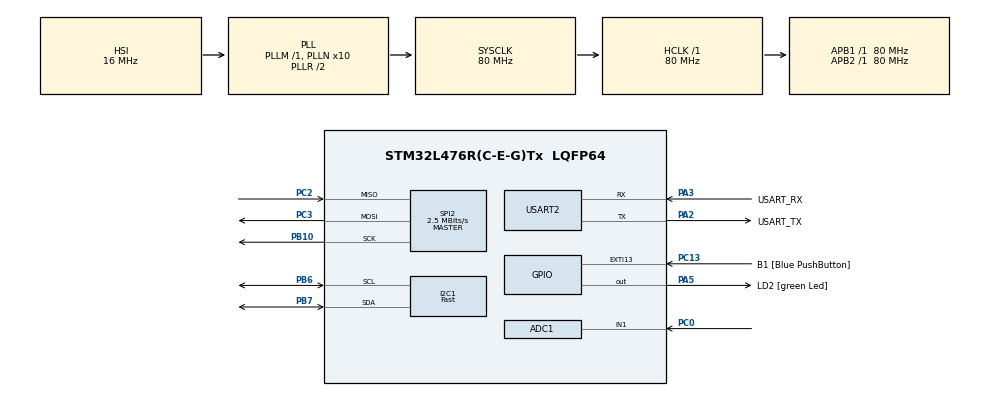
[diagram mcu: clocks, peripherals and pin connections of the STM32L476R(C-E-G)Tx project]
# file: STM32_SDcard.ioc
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ADC1.Channel-0\#ChannelRegularConversion=ADC_CHANNEL_1
ADC1.ContinuousConvMode=ENABLE
ADC1.EOCSelection=ADC_EOC_SEQ_CONV
ADC1.NbrOfConversionFlag=1
ADC1.OffsetNumber-0\#ChannelRegularConversion=ADC_OFFSET_NONE
ADC1.Overrun=ADC_OVR_DATA_OVERWRITTEN
ADC1.Rank-0\#ChannelRegularConversion=1
ADC1.SamplingTime-0\#ChannelRegularConversion=ADC_SAMPLETIME_2CYCLES_5
ADC1.master=1
I2C1.I2C_Speed_Mode=I2C_Fast
I2C1.Timing=0x00702991
Mcu.Family=STM32L4
Mcu.Name=STM32L476R(C-E-G)Tx
Mcu.Package=LQFP64
NVIC.PriorityGroup=NVIC_PRIORITYGROUP_4
PA13\ (JTMS-SWDIO).GPIO_Label=TMS
PA13\ (JTMS-SWDIO).Mode=Serial_Wire
PA13\ (JTMS-SWDIO).Signal=SYS_JTMS-SWDIO
PA14\ (JTCK-SWCLK).GPIO_Label=TCK
PA14\ (JTCK-SWCLK).Mode=Serial_Wire
PA14\ (JTCK-SWCLK).Signal=SYS_JTCK-SWCLK
PA2.GPIO_Label=USART_TX
PA2.GPIO_Mode=GPIO_MODE_AF_PP
PA2.GPIO_PuPd=GPIO_NOPULL
PA2.GPIO_Speed=GPIO_SPEED_FREQ_VERY_HIGH
PA2.Mode=Asynchronous
PA2.Signal=USART2_TX
PA3.GPIO_Label=USART_RX
PA3.GPIO_Mode=GPIO_MODE_AF_PP
PA3.GPIO_PuPd=GPIO_NOPULL
PA3.GPIO_Speed=GPIO_SPEED_FREQ_VERY_HIGH
PA3.Mode=Asynchronous
PA3.Signal=USART2_RX
PA5.GPIO_Label=LD2 [green Led]
PA5.GPIO_ModeDefaultOutputPP=GPIO_MODE_OUTPUT_PP
PA5.GPIO_PuPd=GPIO_NOPULL
PA5.GPIO_Speed=GPIO_SPEED_FREQ_LOW
PA5.Signal=GPIO_Output
PB10.Mode=Full_Duplex_Master
PB10.Signal=SPI2_SCK
PB3\ (JTDO-TRACESWO).GPIO_Label=SWO
PB3\ (JTDO-TRACESWO).Signal=SYS_JTDO-SWO
PB6.GPIO_Pu=GPIO_PULLUP
PB6.Mode=I2C
PB6.Signal=I2C1_SCL
PB7.GPIO_Pu=GPIO_PULLUP
PB7.Mode=I2C
PB7.Signal=I2C1_SDA
PC0.Signal=ADCx_IN1
PC13.GPIO_Label=B1 [Blue PushButton]
PC13.GPIO_ModeDefaultEXTI=GPIO_MODE_IT_FALLING
PC13.GPIO_PuPd=GPIO_NOPULL
PC13.Signal=GPXTI13
PC14-OSC32_IN\ (PC14).Mode=LSE-External-Oscillator
PC14-OSC32_IN\ (PC14).Signal=RCC_OSC32_IN
PC15-OSC32_OUT\ (PC15).Mode=LSE-External-Oscillator
PC15-OSC32_OUT\ (PC15).Signal=RCC_OSC32_OUT
PC2.Mode=Full_Duplex_Master
PC2.Signal=SPI2_MISO
PC3.Mode=Full_Duplex_Master
PC3.Signal=SPI2_MOSI
PH0-OSC_IN\ (PH0).Signal=RCC_OSC_IN
PH1-OSC_OUT\ (PH1).Signal=RCC_OSC_OUT
ProjectManager.HeapSize=0x200
ProjectManager.StackSize=0x400
ProjectManager.TargetToolchain=STM32CubeIDE
RCC.ADCFreq_Value=64000000
RCC.AHBFreq_Value=80000000
RCC.APB1Freq_Value=80000000
RCC.APB1TimFreq_Value=80000000
RCC.APB2Freq_Value=80000000
RCC.APB2TimFreq_Value=80000000
RCC.CortexFreq_Value=80000000
RCC.HCLKFreq_Value=80000000
RCC.HSE_VALUE=8000000
RCC.HSI_VALUE=16000000
RCC.MSI_VALUE=4000000
RCC.PLLN=10
RCC.PLLSourceVirtual=RCC_PLLSOURCE_HSI
RCC.PREFETCH_ENABLE=1
RCC.SYSCLKFreq_VALUE=80000000
RCC.SYSCLKSource=RCC_SYSCLKSOURCE_PLLCLK
RCC.USBFreq_Value=64000000
RCC.VCOOutputFreq_Value=160000000
SH.ADCx_IN1.0=ADC1_IN1,IN1-Single-Ended
SPI2.BaudRatePrescaler=SPI_BAUDRATEPRESCALER_32
SPI2.CalculateBaudRate=2.5 MBits/s
SPI2.DataSize=SPI_DATASIZE_8BIT
SPI2.Direction=SPI_DIRECTION_2LINES
SPI2.Mode=SPI_MODE_MASTER
SPI2.VirtualType=VM_MASTER
USART2.VirtualMode-Asynchronous=VM_ASYNC
VP_FATFS_VS_Generic.Mode=User_defined
board=NUCLEO-L476RG

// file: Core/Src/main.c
/* USER CODE BEGIN Header */
/**
  ******************************************************************************
  * @file           : main.c
  * @brief          : Main program body
  ******************************************************************************
  * @attention
  *
  * <h2><center>&copy; Copyright (c) 2020 STMicroelectronics.
  * All rights reserved.</center></h2>
  *
  * This software component is licensed by ST under BSD 3-Clause license,
  * the "License"; You may not use this file except in compliance with the
  * License. You may obtain a copy of the License at:
  *                        opensource.org/licenses/BSD-3-Clause
  *
  ******************************************************************************
  */
/* USER CODE END Header */
#include "main.h"
#include "fatfs.h"

/* USER CODE BEGIN Includes */
#include "ssd1306.h"
#include "fonts.h"
#include "test.h"
#include "bitmap.h"
#include "horse_anim.h"
#include "string.h"
#include "stdio.h"
#include "fatfs_sd.h"
/* USER CODE END Includes */

ADC_HandleTypeDef hadc1;

I2C_HandleTypeDef hi2c1;

SPI_HandleTypeDef hspi2;

UART_HandleTypeDef huart2;

void SystemClock_Config(void);
static void MX_GPIO_Init(void);
static void MX_USART2_UART_Init(void);
static void MX_ADC1_Init(void);
static void MX_I2C1_Init(void);
static void MX_SPI2_Init(void);

/* USER CODE BEGIN 0 */
uint16_t value_adc = 4096; // adc_value
float volts = 0;
char msg[5];
FATFS fs;  // file system
FIL fil; // File
FILINFO fno;
FRESULT fresult;  // result
UINT br, bw;  // File read/write count

/**** capacity related *****/
FATFS *pfs;
DWORD fre_clust;
uint32_t total, free_space;

#define BUFFER_SIZE 128
char buffer[BUFFER_SIZE];  // to store strings..

int i=0;

int bufsize (char *buf)
{
	int i=0;
	while (*buf++ != '\0') i++;
	return i;
}

void clear_buffer (void)
{
	for (int i=0; i<BUFFER_SIZE; i++) buffer[i] = '\0';
}

void send_uart (char *string)
{
	uint8_t len = strlen (string);
	HAL_UART_Transmit(&huart2, (uint8_t *) string, len, HAL_MAX_DELAY);  // transmit in blocking mode
}

/* USER CODE END 0 */

int main(void)
{

  /* MCU Configuration--------------------------------------------------------*/

  /* Reset of all peripherals, Initializes the Flash interface and the Systick. */
  HAL_Init();

  /* Configure the system clock */
  SystemClock_Config();

  /* Initialize all configured peripherals */
  MX_GPIO_Init();
  MX_USART2_UART_Init();
  MX_ADC1_Init();
  MX_I2C1_Init();
  MX_SPI2_Init();
  MX_FATFS_Init();
  /* USER CODE BEGIN 2 */
  SSD1306_Init (); // initialize the diaply
  SSD1306_GotoXY (8,0); // goto 10, 10
  SSD1306_Puts ("Voltmeter", &Font_11x18, 1); // print Voltmeter_Back to Intel Nuc
  SSD1306_UpdateScreen(); // update screen
  //HAL_Delay(3000);
  SSD1306_GotoXY (0,20);
  SSD1306_Puts ("Digit:  ", &Font_11x18, 1);
  SSD1306_GotoXY (0,42);
  SSD1306_Puts ("Volts:  ", &Font_11x18, 1);
  SSD1306_UpdateScreen(); // update screen
  // Get ADC value
  HAL_ADC_Start(&hadc1);
  HAL_ADC_PollForConversion(&hadc1, HAL_MAX_DELAY);
  /* USER CODE END 2 */

  /* Infinite loop */
  while (1)
  {

    /* USER CODE BEGIN 3 */
	value_adc = HAL_ADC_GetValue(&hadc1);
	SSD1306_GotoXY (70,20); // goto 10, 10
	SSD1306_Putc ((char)(value_adc/1000+48), &Font_11x18, 1);
	SSD1306_Putc ((char)((value_adc%1000)/100+48), &Font_11x18, 1);
	SSD1306_Putc ((char)((value_adc%100)/10+48), &Font_11x18, 1);
	SSD1306_Putc ((char)(value_adc%10+48), &Font_11x18, 1);
	volts = value_adc*333/4096;
	SSD1306_GotoXY (70,42); // goto 10, 10
	SSD1306_Putc ((char)((int)(volts)/100+48), &Font_11x18, 1);
	SSD1306_Puts (".", &Font_11x18, 1);
	SSD1306_Putc ((char)(((int)(volts)%100)/10+48), &Font_11x18, 1);
	SSD1306_Putc ((char)((int)(volts)%10+48), &Font_11x18, 1);
	SSD1306_UpdateScreen(); // update screen
	//Convert to string and print
	sprintf(msg,"%hu\r\n",value_adc);
	HAL_UART_Transmit(&huart2, (uint8_t*)msg, strlen(msg), HAL_MAX_DELAY);
	HAL_Delay(100);
  }
  /* USER CODE END 3 */
}

void SystemClock_Config(void)
{
  RCC_OscInitTypeDef RCC_OscInitStruct = {0};
  RCC_ClkInitTypeDef RCC_ClkInitStruct = {0};

  /** Configure the main internal regulator output voltage
  */
  if (HAL_PWREx_ControlVoltageScaling(PWR_REGULATOR_VOLTAGE_SCALE1) != HAL_OK)
  {
    Error_Handler();
  }

  /** Initializes the RCC Oscillators according to the specified parameters
  * in the RCC_OscInitTypeDef structure.
  */
  RCC_OscInitStruct.OscillatorType = RCC_OSCILLATORTYPE_HSI;
  RCC_OscInitStruct.HSIState = RCC_HSI_ON;
  RCC_OscInitStruct.HSICalibrationValue = RCC_HSICALIBRATION_DEFAULT;
  RCC_OscInitStruct.PLL.PLLState = RCC_PLL_ON;
  RCC_OscInitStruct.PLL.PLLSource = RCC_PLLSOURCE_HSI;
  RCC_OscInitStruct.PLL.PLLM = 1;
  RCC_OscInitStruct.PLL.PLLN = 10;
  RCC_OscInitStruct.PLL.PLLP = RCC_PLLP_DIV7;
  RCC_OscInitStruct.PLL.PLLQ = RCC_PLLQ_DIV2;
  RCC_OscInitStruct.PLL.PLLR = RCC_PLLR_DIV2;
  if (HAL_RCC_OscConfig(&RCC_OscInitStruct) != HAL_OK)
  {
    Error_Handler();
  }

  /** Initializes the CPU, AHB and APB buses clocks
  */
  RCC_ClkInitStruct.ClockType = RCC_CLOCKTYPE_HCLK|RCC_CLOCKTYPE_SYSCLK
                              |RCC_CLOCKTYPE_PCLK1|RCC_CLOCKTYPE_PCLK2;
  RCC_ClkInitStruct.SYSCLKSource = RCC_SYSCLKSOURCE_PLLCLK;
  RCC_ClkInitStruct.AHBCLKDivider = RCC_SYSCLK_DIV1;
  RCC_ClkInitStruct.APB1CLKDivider = RCC_HCLK_DIV1;
  RCC_ClkInitStruct.APB2CLKDivider = RCC_HCLK_DIV1;

  if (HAL_RCC_ClockConfig(&RCC_ClkInitStruct, FLASH_LATENCY_4) != HAL_OK)
  {
    Error_Handler();
  }
}

static void MX_ADC1_Init(void)
{

  ADC_MultiModeTypeDef multimode = {0};
  ADC_ChannelConfTypeDef sConfig = {0};

  /** Common config
  */
  hadc1.Instance = ADC1;
  hadc1.Init.ClockPrescaler = ADC_CLOCK_ASYNC_DIV1;
  hadc1.Init.Resolution = ADC_RESOLUTION_12B;
  hadc1.Init.DataAlign = ADC_DATAALIGN_RIGHT;
  hadc1.Init.ScanConvMode = ADC_SCAN_DISABLE;
  hadc1.Init.EOCSelection = ADC_EOC_SEQ_CONV;
  hadc1.Init.LowPowerAutoWait = DISABLE;
  hadc1.Init.ContinuousConvMode = ENABLE;
  hadc1.Init.NbrOfConversion = 1;
  hadc1.Init.DiscontinuousConvMode = DISABLE;
  hadc1.Init.ExternalTrigConv = ADC_SOFTWARE_START;
  hadc1.Init.ExternalTrigConvEdge = ADC_EXTERNALTRIGCONVEDGE_NONE;
  hadc1.Init.DMAContinuousRequests = DISABLE;
  hadc1.Init.Overrun = ADC_OVR_DATA_OVERWRITTEN;
  hadc1.Init.OversamplingMode = DISABLE;
  if (HAL_ADC_Init(&hadc1) != HAL_OK)
  {
    Error_Handler();
  }

  /** Configure the ADC multi-mode
  */
  multimode.Mode = ADC_MODE_INDEPENDENT;
  if (HAL_ADCEx_MultiModeConfigChannel(&hadc1, &multimode) != HAL_OK)
  {
    Error_Handler();
  }

  /** Configure Regular Channel
  */
  sConfig.Channel = ADC_CHANNEL_1;
  sConfig.Rank = ADC_REGULAR_RANK_1;
  sConfig.SamplingTime = ADC_SAMPLETIME_2CYCLES_5;
  sConfig.SingleDiff = ADC_SINGLE_ENDED;
  sConfig.OffsetNumber = ADC_OFFSET_NONE;
  sConfig.Offset = 0;
  if (HAL_ADC_ConfigChannel(&hadc1, &sConfig) != HAL_OK)
  {
    Error_Handler();
  }

}

static void MX_I2C1_Init(void)
{

  hi2c1.Instance = I2C1;
  hi2c1.Init.Timing = 0x00702991;
  hi2c1.Init.OwnAddress1 = 0;
  hi2c1.Init.AddressingMode = I2C_ADDRESSINGMODE_7BIT;
  hi2c1.Init.DualAddressMode = I2C_DUALADDRESS_DISABLE;
  hi2c1.Init.OwnAddress2 = 0;
  hi2c1.Init.OwnAddress2Masks = I2C_OA2_NOMASK;
  hi2c1.Init.GeneralCallMode = I2C_GENERALCALL_DISABLE;
  hi2c1.Init.NoStretchMode = I2C_NOSTRETCH_DISABLE;
  if (HAL_I2C_Init(&hi2c1) != HAL_OK)
  {
    Error_Handler();
  }

  /** Configure Analogue filter
  */
  if (HAL_I2CEx_ConfigAnalogFilter(&hi2c1, I2C_ANALOGFILTER_ENABLE) != HAL_OK)
  {
    Error_Handler();
  }

  /** Configure Digital filter
  */
  if (HAL_I2CEx_ConfigDigitalFilter(&hi2c1, 0) != HAL_OK)
  {
    Error_Handler();
  }

}

static void MX_SPI2_Init(void)
{

  /* SPI2 parameter configuration*/
  hspi2.Instance = SPI2;
  hspi2.Init.Mode = SPI_MODE_MASTER;
  hspi2.Init.Direction = SPI_DIRECTION_2LINES;
  hspi2.Init.DataSize = SPI_DATASIZE_8BIT;
  hspi2.Init.CLKPolarity = SPI_POLARITY_LOW;
  hspi2.Init.CLKPhase = SPI_PHASE_1EDGE;
  hspi2.Init.NSS = SPI_NSS_SOFT;
  hspi2.Init.BaudRatePrescaler = SPI_BAUDRATEPRESCALER_32;
  hspi2.Init.FirstBit = SPI_FIRSTBIT_MSB;
  hspi2.Init.TIMode = SPI_TIMODE_DISABLE;
  hspi2.Init.CRCCalculation = SPI_CRCCALCULATION_DISABLE;
  hspi2.Init.CRCPolynomial = 7;
  hspi2.Init.CRCLength = SPI_CRC_LENGTH_DATASIZE;
  hspi2.Init.NSSPMode = SPI_NSS_PULSE_ENABLE;
  if (HAL_SPI_Init(&hspi2) != HAL_OK)
  {
    Error_Handler();
  }

}

static void MX_USART2_UART_Init(void)
{

  huart2.Instance = USART2;
  huart2.Init.BaudRate = 115200;
  huart2.Init.WordLength = UART_WORDLENGTH_8B;
  huart2.Init.StopBits = UART_STOPBITS_1;
  huart2.Init.Parity = UART_PARITY_NONE;
  huart2.Init.Mode = UART_MODE_TX_RX;
  huart2.Init.HwFlowCtl = UART_HWCONTROL_NONE;
  huart2.Init.OverSampling = UART_OVERSAMPLING_16;
  huart2.Init.OneBitSampling = UART_ONE_BIT_SAMPLE_DISABLE;
  huart2.AdvancedInit.AdvFeatureInit = UART_ADVFEATURE_NO_INIT;
  if (HAL_UART_Init(&huart2) != HAL_OK)
  {
    Error_Handler();
  }

}

static void MX_GPIO_Init(void)
{
  GPIO_InitTypeDef GPIO_InitStruct = {0};

  /* GPIO Ports Clock Enable */
  __HAL_RCC_GPIOC_CLK_ENABLE();
  __HAL_RCC_GPIOH_CLK_ENABLE();
  __HAL_RCC_GPIOA_CLK_ENABLE();
  __HAL_RCC_GPIOB_CLK_ENABLE();

  /*Configure GPIO pin Output Level */
  HAL_GPIO_WritePin(LD2_GPIO_Port, LD2_Pin, GPIO_PIN_RESET);

  /*Configure GPIO pin : B1_Pin */
  GPIO_InitStruct.Pin = B1_Pin;
  GPIO_InitStruct.Mode = GPIO_MODE_IT_FALLING;
  GPIO_InitStruct.Pull = GPIO_NOPULL;
  HAL_GPIO_Init(B1_GPIO_Port, &GPIO_InitStruct);

  /*Configure GPIO pin : LD2_Pin */
  GPIO_InitStruct.Pin = LD2_Pin;
  GPIO_InitStruct.Mode = GPIO_MODE_OUTPUT_PP;
  GPIO_InitStruct.Pull = GPIO_NOPULL;
  GPIO_InitStruct.Speed = GPIO_SPEED_FREQ_LOW;
  HAL_GPIO_Init(LD2_GPIO_Port, &GPIO_InitStruct);

}

void Error_Handler(void)
{
}
